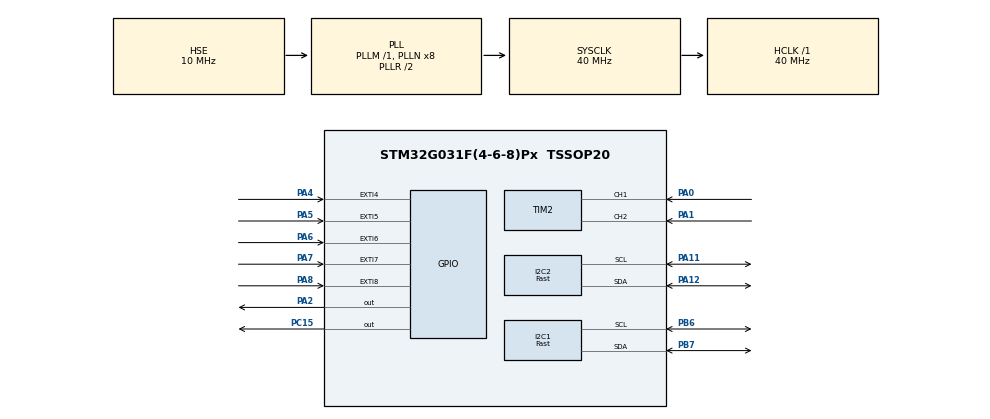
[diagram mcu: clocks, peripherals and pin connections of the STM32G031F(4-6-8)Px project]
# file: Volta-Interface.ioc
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I2C1.I2C_Speed_Mode=I2C_Fast
I2C1.Timing=0x00301347
I2C2.I2C_Speed_Mode=I2C_Fast
I2C2.Timing=0x00301347
Mcu.Family=STM32G0
Mcu.Name=STM32G031F(4-6-8)Px
Mcu.Package=TSSOP20
NVIC.EXTI4_15_IRQn=true\:0\:0\:false\:false\:true\:true\:true\:true
NVIC.TIM16_IRQn=true\:0\:0\:false\:false\:true\:true\:true\:true
NVIC.TIM2_IRQn=true\:0\:0\:false\:false\:true\:true\:true\:true
PA0.Signal=S_TIM2_CH1_ETR
PA1.Signal=S_TIM2_CH2
PA11\ [PA9].Mode=I2C
PA11\ [PA9].Signal=I2C2_SCL
PA12\ [PA10].Mode=I2C
PA12\ [PA10].Signal=I2C2_SDA
PA13.Mode=Serial_Wire
PA13.Signal=SYS_SWDIO
PA14-BOOT0.Mode=Serial_Wire
PA14-BOOT0.Signal=SYS_SWCLK
PA14-BOOT0__PA15.StandardMode=true
PA2.Signal=GPIO_Output
PA4.GPIO_ModeDefaultEXTI=GPIO_MODE_IT_FALLING
PA4.GPIO_PuPd=GPIO_PULLUP
PA4.Signal=GPXTI4
PA5.GPIO_ModeDefaultEXTI=GPIO_MODE_IT_FALLING
PA5.GPIO_PuPd=GPIO_PULLUP
PA5.Signal=GPXTI5
PA6.GPIO_ModeDefaultEXTI=GPIO_MODE_IT_FALLING
PA6.GPIO_PuPd=GPIO_PULLUP
PA6.Signal=GPXTI6
PA7.GPIO_ModeDefaultEXTI=GPIO_MODE_IT_FALLING
PA7.GPIO_PuPd=GPIO_PULLUP
PA7.Signal=GPXTI7
PA8.GPIO_ModeDefaultEXTI=GPIO_MODE_IT_FALLING
PA8.GPIO_PuPd=GPIO_PULLUP
PA8.Signal=GPXTI8
PB0__PB1__PB2__PA8.StandardMode=true
PB3__PB4__PB5__PB6.StandardMode=true
PB6.Mode=I2C
PB6.Signal=I2C1_SCL
PB7.Mode=I2C
PB7.Signal=I2C1_SDA
PB7__PB8.StandardMode=true
PC14-OSC32_IN\ (PC14).Mode=HSE-External-Clock-Source
PC14-OSC32_IN\ (PC14).Signal=RCC_OSC_IN
PC14-OSC32_IN\ (PC14)__PB9.StandardMode=true
PC15-OSC32_OUT\ (PC15).GPIO_ModeDefaultOutputPP=GPIO_MODE_OUTPUT_OD
PC15-OSC32_OUT\ (PC15).GPIO_PuPd=GPIO_NOPULL
PC15-OSC32_OUT\ (PC15).PinState=GPIO_PIN_SET
PC15-OSC32_OUT\ (PC15).Signal=GPIO_Output
ProjectManager.HeapSize=0x200
ProjectManager.StackSize=0x400
ProjectManager.TargetToolchain=STM32CubeIDE
RCC.ADCFreq_Value=40000000
RCC.AHBFreq_Value=40000000
RCC.CortexFreq_Value=40000000
RCC.EXTERNAL_CLOCK_VALUE=12288000
RCC.HCLKFreq_Value=40000000
RCC.HSE_VALUE=10000000
RCC.HSI_VALUE=16000000
RCC.LSE_VALUE=32768
RCC.PLLSourceVirtual=RCC_PLLSOURCE_HSE
RCC.SYSCLKFreq_VALUE=40000000
RCC.SYSCLKSource=RCC_SYSCLKSOURCE_PLLCLK
RCC.VCOOutputFreq_Value=80000000
SH.S_TIM2_CH1_ETR.0=TIM2_CH1,Encoder_Interface
SH.S_TIM2_CH2.0=TIM2_CH2,Encoder_Interface
TIM16.Period=1000
TIM16.Prescaler=40000-1
TIM2.EncoderMode=TIM_ENCODERMODE_TI12
TIM2.IC1Polarity=TIM_ICPOLARITY_FALLING
TIM2.IC2Polarity=TIM_ICPOLARITY_FALLING
VP_TIM16_VS_ClockSourceINT.Mode=Enable_Timer
board=custom

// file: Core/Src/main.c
/* USER CODE BEGIN Header */
/**
  ******************************************************************************
  * @file           : main.c
  * @brief          : Main program body
  ******************************************************************************
  * @attention
  *
  * Copyright (c) 2022 STMicroelectronics.
  * All rights reserved.
  *
  * This software is licensed under terms that can be found in the LICENSE file
  * in the root directory of this software component.
  * If no LICENSE file comes with this software, it is provided AS-IS.
  *
  ******************************************************************************
  */
/* USER CODE END Header */
#include "main.h"

/* USER CODE BEGIN Includes */
#include "stdio.h"
#include "ctype.h"
#include "ssd1306.h"
/* USER CODE END Includes */

/* USER CODE BEGIN PD */

#define 	LED_DVR_IC1  			 (0x69 << 1) // IS31FL3193 PWM LED Driver I2C Address - U1
#define 	LED_DVR_IC2  			 (0x6A << 1) // IS31FL3193 PWM LED Driver I2C Address - U2

//General Registers
#define     SC16IS750_REG_RHR        (0x00)
#define     SC16IS750_REG_THR        (0x00)
#define     SC16IS750_REG_IER        (0x01)
#define     SC16IS750_REG_FCR        (0x02)
#define     SC16IS750_REG_IIR        (0x02)
#define     SC16IS750_REG_LCR        (0x03)
#define     SC16IS750_REG_MCR        (0x04)
#define     SC16IS750_REG_LSR        (0x05)
#define     SC16IS750_REG_MSR        (0x06)
#define     SC16IS750_REG_SPR        (0x07)
#define     SC16IS750_REG_TCR        (0x06)
#define     SC16IS750_REG_TLR        (0x07)
#define     SC16IS750_REG_TXLVL      (0x08)
#define     SC16IS750_REG_RXLVL      (0x09)
#define     SC16IS750_REG_IODIR      (0x0A)
#define     SC16IS750_REG_IOSTATE    (0x0B)
#define     SC16IS750_REG_IOINTENA   (0x0C)
#define     SC16IS750_REG_IOCONTROL  (0x0E)
#define     SC16IS750_REG_EFCR       (0x0F)

//Special Registers
#define     SC16IS750_REG_DLL        (0x00)
#define     SC16IS750_REG_DLH        (0x01)

//Enhanced Registers
#define     SC16IS750_REG_EFR        (0x02)
#define     SC16IS750_REG_XON1       (0x04)
#define     SC16IS750_REG_XON2       (0x05)
#define     SC16IS750_REG_XOFF1      (0x06)
#define     SC16IS750_REG_XOFF2      (0x07)

//
#define     SC16IS750_INT_CTS        (0x80)
#define     SC16IS750_INT_RTS        (0x40)
#define     SC16IS750_INT_XOFF       (0x20)
#define     SC16IS750_INT_SLEEP      (0x10)
#define     SC16IS750_INT_MODEM      (0x08)
#define     SC16IS750_INT_LINE       (0x04)
#define     SC16IS750_INT_THR        (0x02)
#define     SC16IS750_INT_RHR        (0x01)

#define     SC16IS750_ADDR           (0x90) // SC16IS750 UART Bridge/GPIO I2C Address
//#define     SC16IS750_OSC_FREQ       (10000000)
#define     SC16IS750_OSC_FREQ       (14745600)

// MCP47CMB22 configuration registers
#define DAC_CH0  					 (0x00 << 3) // DAC wiper 0 set register
#define DAC_CH1  					 (0x01 << 3) // DAC wiper 1 set register
#define DAC_REF 					 (0x08 << 3) // DAC Vref set register
#define DAC_POR 					 (0x09 << 3) // DAC Power Down register
#define DAC_SET					     (0x0A << 3) // DAC gain and status register

// MCP47CMB22 MTP memory regions (stores default values after POR)
#define MTP_DAC_CH0  				 (0x10 << 3) // MTP DAC wiper 0 set register
#define MTP_DAC_CH1					 (0x11 << 3) // MTP DAC wiper 1 set register
#define MTP_DAC_REF 				 (0x18 << 3) // MTP DAC Vref set register
#define MTP_DAC_POR					 (0x19 << 3) // MTP DAC Power Down register
#define MTP_DAC_SET					 (0x1A << 3) // MTP DAC gain and status register

#define ADC_ADDR  					 (0x68 << 1) // MCP3426 A/D converter address
#define DAC_ADDR  					 (0x60 << 1) // MCP47CVB21 12-bit D/A I2C Address
#define POT_ADDR  					 (0x2C << 1) // AD5245 10k digital pot I2C Address

/* USER CODE END PD */

I2C_HandleTypeDef hi2c1;
I2C_HandleTypeDef hi2c2;

TIM_HandleTypeDef htim2;
TIM_HandleTypeDef htim16;

/* USER CODE BEGIN PV */

// serial comms buffers
uint8_t tx_buf[64];
uint8_t rx_buf[64];

// sense offset
uint8_t vsense_offset = 0;
uint8_t isense_offset = 0;

// LED driver outputs states
uint8_t ledstate1,ledstate2;

// output switch state
int output_enabled;

// encoder
uint32_t counter;
uint8_t direction;
uint32_t position;
uint32_t position_prev;

// display values
uint16_t DisplayVoltage; // output voltage
uint16_t DisplayCurrent; // output current
uint16_t DisplayVoLimit; // compliance voltage
uint16_t DisplayIoLimit; // current limit
uint16_t DisplayOutput;
uint16_t DisplaySelection;

volatile int ButtonISR_A = 0;
volatile int ButtonISR_B = 0;
volatile int ButtonISR_C = 0;
volatile int ButtonISR_D = 0;
volatile int ButtonISR_E = 0;
volatile int FineAdjust = 0;
volatile int MenuState = 0;

volatile int SerialISR = 0;

/* USER CODE END PV */

void SystemClock_Config(void);
static void MX_GPIO_Init(void);
static void MX_I2C1_Init(void);
static void MX_TIM2_Init(void);
static void MX_I2C2_Init(void);
static void MX_TIM16_Init(void);

/* USER CODE BEGIN 0 */

// -----------------------------------  Begin User Interface interrupt service routines  --------------------------------

void HAL_TIM_IC_CaptureCallback(TIM_HandleTypeDef *htim){
	position_prev = position;
	counter = __HAL_TIM_GET_COUNTER(htim);
	position = counter/4;

	if(position_prev > position){
		direction = 1;
	}
	if(position_prev < position){
		direction = 2;
	}

	return;
}

void ButtonPressed_A(){
	ButtonISR_A = 1; // enable switch
}

void ButtonPressed_B(){
	ButtonISR_B = 1; // current mode
}

void ButtonPressed_C(){
	ButtonISR_C = 1; // voltage mode
}

void ButtonPressed_D(){
	ButtonISR_D = 1; // trim adjust
}

void ButtonPressed_E(){
	ButtonISR_E = 1; // encoder switch
}

void Serial_Interrupt(){
	SerialISR = 1;
}

void HAL_TIM_PeriodElapsedCallback(TIM_HandleTypeDef *htim){

	if(htim == &htim16){
		Serial_Interrupt();
	}
}

// -----------------------------------  End User Interface interrupt service routines  --------------------------------

// -----------------------------------  Begin SSD1306 OLED Display functions  --------------------------------

void VoltaDisplaySplash(){

	// display splash screen on power up

	ssd1306_SetCursor(22, 4);
	ssd1306_WriteString("Volta", Font_16x26, White);
	ssd1306_SetCursor(8, 30);
	ssd1306_WriteString("Lab Bench Supply", Font_7x10, White);
	ssd1306_SetCursor(8, 42);
	ssd1306_WriteString("Designed in 2022", Font_7x10, White);
	ssd1306_SetCursor(8, 54);
	ssd1306_WriteString("FW Rev: 0.9.3", Font_7x10, White);
	ssd1306_UpdateScreen();

	return;
}

void VoltaDisplayInit(){

	// set up the 128x64 OLED to display the framework for the user interface

	ssd1306_Fill(Black);

	ssd1306_SetCursor(2, 5);
	ssd1306_WriteString("Voltage:", Font_7x10, White);
	ssd1306_SetCursor(60, 1);
	ssd1306_WriteString("00.00", Font_11x18, White);
	ssd1306_SetCursor(114, 1);
	ssd1306_WriteString("V", Font_11x18, White);

	ssd1306_SetCursor(2, 20);
	ssd1306_WriteString("Current:", Font_7x10, White);
	ssd1306_SetCursor(60, 16);
	ssd1306_WriteString("0.000", Font_11x18, White);
	ssd1306_SetCursor(114, 16);
	ssd1306_WriteString("A", Font_11x18, White);

	ssd1306_SetCursor(10, 40);
	ssd1306_WriteString("VLIM:", Font_7x10, White);
	ssd1306_SetCursor(46, 40);
	ssd1306_WriteString("00.00", Font_7x10, White);
	ssd1306_SetCursor(82, 40);
	ssd1306_WriteString("V", Font_7x10, White);

	ssd1306_SetCursor(10, 52);
	ssd1306_WriteString("ILIM:", Font_7x10, White);
	ssd1306_SetCursor(46, 52);
	ssd1306_WriteString("0.000", Font_7x10, White);
	ssd1306_SetCursor(82, 52);
	ssd1306_WriteString("A", Font_7x10, White);

	ssd1306_SetCursor(95, 40);
	ssd1306_WriteString("COAR", Font_7x10, White);

	ssd1306_SetCursor(99, 52);
	ssd1306_WriteString("ADJ", Font_7x10, White);

	ssd1306_DrawRectangle(0, 0, 126, 36, White); // top box
	ssd1306_DrawRectangle(0, 36, 92, 62, White); // left box
	ssd1306_DrawRectangle(92, 36, 126, 62, White); // right box
	ssd1306_UpdateScreen();

	return;
}

void VoltaDisplayValues(uint16_t Voltage, uint16_t Current, uint16_t VoLimit, uint16_t IoLimit, uint8_t FineAdjustState, uint8_t SetSelect){
	uint8_t V1, V2, V3, V4;
	uint8_t I1, I2, I3, I4;
	uint8_t VL1, VL2, VL3, VL4;
	uint8_t IL1, IL2, IL3, IL4;
	char Vdisp[6];
	char Idisp[6];
	char VLdisp[6];
	char ILdisp[6];

	// extract digits from int
	V1 = Voltage / 1000 % 10;
	V2 = Voltage / 100  % 10;
	V3 = Voltage / 10   % 10;
	V4 = Voltage        % 10;

	I1 = Current / 1000 % 10;
	I2 = Current / 100  % 10;
	I3 = Current / 10   % 10;
	I4 = Current        % 10;

	VL1 = VoLimit / 1000 % 10;
	VL2 = VoLimit / 100  % 10;
	VL3 = VoLimit / 10   % 10;
	VL4 = VoLimit        % 10;

	IL1 = IoLimit / 1000 % 10;
	IL2 = IoLimit / 100  % 10;
	IL3 = IoLimit / 10   % 10;
	IL4 = IoLimit        % 10;

	// display voltage setting/sense
    sprintf(Vdisp, "%d%d.%d%d", V1,V2,V3,V4);
	ssd1306_SetCursor(60, 1);
	ssd1306_WriteString(Vdisp, Font_11x18, White);

	// display current setting/sense
    sprintf(Idisp, "%d.%d%d%d", I1,I2,I3,I4);
	ssd1306_SetCursor(60, 16);
	ssd1306_WriteString(Idisp, Font_11x18, White);

	// display voltage limit
    sprintf(VLdisp, "%d%d.%d%d", VL1,VL2,VL3,VL4);
	ssd1306_SetCursor(46, 40);
	ssd1306_WriteString(VLdisp, Font_7x10, White);

	// display current limit
    sprintf(ILdisp, "%d.%d%d%d", IL1,IL2,IL3,IL4);
	ssd1306_SetCursor(46, 52);
	ssd1306_WriteString(ILdisp, Font_7x10, White);

	// display state of adjustment resolution
	if (FineAdjustState == 0){
		ssd1306_SetCursor(95, 40);
		ssd1306_WriteString("COAR", Font_7x10, White);
	}
	else if (FineAdjustState == 1){
		ssd1306_SetCursor(95, 40);
		ssd1306_WriteString("FINE", Font_7x10, White);
	}
	else if (FineAdjustState == 2){
		ssd1306_SetCursor(95, 40);
		ssd1306_WriteString("TRIM", Font_7x10, White);
	}
	else;

	// display arrow for user choice
	if (SetSelect == 0){
		ssd1306_SetCursor(2, 40);
		ssd1306_WriteString(" ", Font_7x10, White);
		ssd1306_SetCursor(2, 52);
		ssd1306_WriteString(" ", Font_7x10, White);
	}
	else if (SetSelect == 1){
		ssd1306_SetCursor(2, 40);
		ssd1306_WriteString(">", Font_7x10, White);
		ssd1306_SetCursor(2, 52);
		ssd1306_WriteString(" ", Font_7x10, White);
	}
	else if (SetSelect == 2){
		ssd1306_SetCursor(2, 40);
		ssd1306_WriteString(" ", Font_7x10, White);
		ssd1306_SetCursor(2, 52);
		ssd1306_WriteString(">", Font_7x10, White);
	}
	else;

	ssd1306_UpdateScreen();

	return;
}

void AdjustVoltage(){
	uint8_t StepSize;
	ButtonISR_C = 0;
	DisplaySelection = 1;
	direction = 0;

	while(ButtonISR_E != 1){

		if(ButtonISR_B == 1){
			break;
		}

		if(ButtonISR_C == 1){
			break;
		}

		if(ButtonISR_D == 1){
			FineAdjust++;

			if (FineAdjust > 2){
				FineAdjust = 0;
			}
			ButtonISR_D = 0;
		}

		if(FineAdjust == 0){
			StepSize = 100;
		}
		else if(FineAdjust == 1){
			StepSize = 5;
		}
		else if(FineAdjust == 2){
			StepSize = 1;
		}
		else;

		if(direction == 1){

			if(DisplayVoLimit > 0){
				DisplayVoLimit -= StepSize;
				direction = 0;
			}
			else {
				direction = 0;
			}

		}
		if(direction == 2){

			if(DisplayVoLimit < 1200){
				DisplayVoLimit += StepSize;
				direction = 0;
			}
			else {
				direction = 0;
			}

		}

		VoltaDisplayValues(DisplayVoltage, DisplayCurrent, DisplayVoLimit, DisplayIoLimit, FineAdjust, DisplaySelection);

		//uint16_t DisplayVoltage; // output voltage
		//uint16_t DisplayCurrent; // output current
		//uint16_t DisplayVoLimit; // compliance voltage
		//uint16_t DisplayIoLimit; // current limit

	}

	DisplaySelection = 0;

	return;
}

void AdjustCurrent(){
	uint8_t StepSize;
	ButtonISR_B = 0;
	DisplaySelection = 2;
	direction = 0;

	while(ButtonISR_E != 1){

		if(ButtonISR_B == 1){
			break;
		}

		if(ButtonISR_C == 1){
			break;
		}

		if(ButtonISR_D == 1){
			FineAdjust++;

			if (FineAdjust > 2){
				FineAdjust = 0;
			}
			ButtonISR_D = 0;
		}

		if(FineAdjust == 0){
			StepSize = 20;
		}
		else if(FineAdjust == 1){
			StepSize = 5;
		}
		else if(FineAdjust == 2){
			StepSize = 1;
		}
		else;

		if(direction == 1){

			if(DisplayIoLimit > 0){
				DisplayIoLimit -= StepSize;
				direction = 0;
			}
			else {
				direction = 0;
			}

		}
		if(direction == 2){

			if(DisplayIoLimit < 1000){
				DisplayIoLimit += StepSize;
				direction = 0;
			}
			else {
				direction = 0;
			}

		}

		VoltaDisplayValues(DisplayVoltage, DisplayCurrent, DisplayVoLimit, DisplayIoLimit, FineAdjust, DisplaySelection);

		//uint16_t DisplayVoltage; // output voltage
		//uint16_t DisplayCurrent; // output current
		//uint16_t DisplayVoLimit; // compliance voltage
		//uint16_t DisplayIoLimit; // current limit

	}

	DisplaySelection = 0;

	return;
}

// -----------------------------------  End SSD1306 OLED Display functions  --------------------------------

// -----------------------------------  Begin SC16IS750 UART Bridge/GPIO functions  --------------------------------

uint8_t SC16IS750_ReadRegister(uint8_t reg_addr){
	uint8_t i2c_buf[8];
	uint8_t value;

	HAL_I2C_Mem_Read(&hi2c2, SC16IS750_ADDR, reg_addr << 3, I2C_MEMADD_SIZE_8BIT, i2c_buf, 1, 10);

	value = i2c_buf[0];

	return value;
}

void SC16IS750_WriteRegister(uint8_t reg_addr, uint8_t value){
	uint8_t i2c_buf[8];
	i2c_buf[0] = value;

	HAL_I2C_Mem_Write(&hi2c2, SC16IS750_ADDR, reg_addr << 3, I2C_MEMADD_SIZE_8BIT, i2c_buf, 1, 10);

	return;
}

void SC16IS750_GPIOPinMode(uint8_t pin_number, uint8_t i_o){
	uint8_t temp_iodir;

	temp_iodir = SC16IS750_ReadRegister(SC16IS750_REG_IODIR);
	if ( i_o == 1 ){	// if output
		temp_iodir |= (0x01 << pin_number);
	}
	else {
		temp_iodir &= (uint8_t)~(0x01 << pin_number);
	}

	SC16IS750_WriteRegister(SC16IS750_REG_IODIR, temp_iodir);

    return;
}

void SC16IS750_GPIOSetPinState(uint8_t pin_number, uint8_t pin_state){
	uint8_t temp_iostate;

	temp_iostate = SC16IS750_ReadRegister(SC16IS750_REG_IOSTATE);
	if ( pin_state == 1 ) {
		temp_iostate |= (0x01 << pin_number);
    }
	else {
		temp_iostate &= (uint8_t)~(0x01 << pin_number);
    }

	SC16IS750_WriteRegister(SC16IS750_REG_IOSTATE, temp_iostate);

    return;
}

uint8_t SC16IS750_GPIOGetPinState(uint8_t pin_number){
    uint8_t temp_iostate;

    temp_iostate = SC16IS750_ReadRegister(SC16IS750_REG_IOSTATE);
    if ( (temp_iostate & (0x01 << pin_number)) == 0 ) {

    	return 0;
    }

    return 1;
}

void SC16IS750_SetBaudrate(uint32_t baudrate){
    uint16_t divisor;
    uint8_t prescaler;
    uint8_t temp_lcr;
    if ( (SC16IS750_ReadRegister(SC16IS750_REG_MCR)&0x80) == 0) { //if prescaler==1
        prescaler = 1;
    } else {
        prescaler = 4;
    }

    divisor = (SC16IS750_OSC_FREQ/prescaler)/(baudrate*16);

    temp_lcr = SC16IS750_ReadRegister(SC16IS750_REG_LCR);
    temp_lcr |= 0x80;
    SC16IS750_WriteRegister(SC16IS750_REG_LCR,temp_lcr);

    //write to DLL
    SC16IS750_WriteRegister(SC16IS750_REG_DLL,(uint8_t)divisor);

    //write to DLH
    SC16IS750_WriteRegister(SC16IS750_REG_DLH,(uint8_t)(divisor>>8));

    temp_lcr &= 0x7F;
    SC16IS750_WriteRegister(SC16IS750_REG_LCR,temp_lcr);

    return;
}

void SC16IS750_FlushFIFO(uint8_t rx_tx){
   uint8_t temp_fcr;

   temp_fcr = SC16IS750_ReadRegister(SC16IS750_REG_FCR);

   if (rx_tx == 0){
       temp_fcr |= 0x04; // reset Tx FIFO
   } else {
       temp_fcr |= 0x02; // reset Rx FIFO
   }
   SC16IS750_WriteRegister(SC16IS750_REG_FCR,temp_fcr);

   return;
}

void CheckDuplicates(void){
    int duplicate_char;

    for (int i=1; i<64; i++){
        if (rx_buf[0] != rx_buf[i]){
            duplicate_char = 0;
        }
        else duplicate_char = 1;
    }

    if(duplicate_char==1){
    	rx_buf[0] = 0x00;
    }

    return;
}

void FlushTxBuffer(void){

	for(int i=0; i<64; i++){
		tx_buf[i] = 0x20;
	}

    return;
}

void FlushRxBuffer(void){

	for(int i=0; i<64; i++){
		rx_buf[i] = 0x20;
	}

    return;
}

void SerialPrint(uint8_t* str){

    for (uint8_t *p = str; *p != '\0'; p++) {

		if(*p == 0x0D){ // 0x2F = / ; 0x0D = CR (enter)
			//rx_buf[i] = 0x0D;
			break;
		}

    	SC16IS750_WriteRegister(SC16IS750_REG_THR, *p);
    }
    SC16IS750_WriteRegister(SC16IS750_REG_THR, 0x0A); // new line
    SC16IS750_WriteRegister(SC16IS750_REG_THR, 0x0D); // carriage return

    FlushRxBuffer();

    return;
}

void SerialRead(){
	uint8_t rx_char;

	for(int i=0; i<64; i++){
		rx_char = SC16IS750_ReadRegister(SC16IS750_REG_RHR);

		if(rx_char == 0x0D){ // 0x2F = / ; 0x0D = CR (enter)
			rx_buf[i] = 0x0D;
			break;
		}

		rx_buf[i] = rx_char;
	}

	CheckDuplicates();

	return;
}

void SC16IS750_Init(){

	SC16IS750_WriteRegister(SC16IS750_REG_IOCONTROL,0x08); // software reset
	SC16IS750_WriteRegister(SC16IS750_REG_FCR,0x01); // enable fifo
	SC16IS750_WriteRegister(SC16IS750_REG_LCR,0x03); // no parity, 8 bits, 1 stop bit

	//SC16IS750_WriteRegister(SC16IS750_REG_IER,0x01); // RHR Interrupt enable

	SC16IS750_SetBaudrate(115200);

	SC16IS750_GPIOPinMode(0,1); // set power on enable pin to output mode
	SC16IS750_GPIOSetPinState(0,0); // initialize power on enable low

	SC16IS750_GPIOPinMode(1,0); // set current limit sense pin to input mode

	SC16IS750_GPIOPinMode(2,1); // set output enable pin to output mode
	SC16IS750_GPIOSetPinState(2,0); // initialize output enable low

	return;
}

// -----------------------------------  End SC16IS750 UART Bridge/GPIO functions  --------------------------------

// -----------------------------------  Begin MCP47CMB22 D/A converter functions  --------------------------------

void MCP47CMB22_Init(){
	uint8_t i2c_buf[2];

    i2c_buf[0] = 0x00;
    i2c_buf[1] = 0x00;

	HAL_I2C_Mem_Write(&hi2c2, DAC_ADDR, DAC_CH0, I2C_MEMADD_SIZE_8BIT, i2c_buf, 2, 10); // send output decode to DAC

    i2c_buf[0] = 0x00;
    i2c_buf[1] = 0x00;

	HAL_I2C_Mem_Write(&hi2c2, DAC_ADDR, DAC_CH1, I2C_MEMADD_SIZE_8BIT, i2c_buf, 2, 10); // send output decode to DAC

	return;
}

void MCP47CMB22_MTP_Program(uint8_t address, uint8_t byte_1, uint8_t byte_2){
	uint8_t i2c_buf[2];

	i2c_buf[0] = byte_1;
	i2c_buf[1] = byte_2;

	HAL_Delay(10);

	HAL_I2C_Mem_Write(&hi2c2, DAC_ADDR, address, I2C_MEMADD_SIZE_8BIT, i2c_buf, 2, 10); // send command to DAC

	return;
}

void MCP47CMB22_Voltage_Set(uint16_t set_point){
	uint8_t i2c_buf[2];
	uint16_t output_code;
    int ref = 2048;
    int gain1 = 1;
    int gain2 = 6;

    output_code = ((set_point*10*4096) + (ref*gain1*gain2) - 1 ) / (ref*gain1*gain2); // 1 LSB = 3mV

    i2c_buf[0] = (output_code >> 8) & 0xFF;
    i2c_buf[1] = output_code & 0xFF;

	HAL_I2C_Mem_Write(&hi2c2, DAC_ADDR, DAC_CH0, I2C_MEMADD_SIZE_8BIT, i2c_buf, 2, 10); // send output decode to DAC

	return;
}

void MCP47CMB22_Current_Set(uint16_t set_point){
	uint8_t i2c_buf[2];
	uint16_t output_code;

    output_code = (set_point*4); // 4 LSB = 1mA

    i2c_buf[0] = (output_code >> 8) & 0xFF;
    i2c_buf[1] = output_code & 0xFF;

	HAL_I2C_Mem_Write(&hi2c2, DAC_ADDR, DAC_CH1, I2C_MEMADD_SIZE_8BIT, i2c_buf, 2, 10); // send output decode to DAC

	return;
}

// -----------------------------------  End MCP47CMB22 D/A converter functions  --------------------------------

// -----------------------------------  Begin MCP3426 A/D converter functions  --------------------------------

void MCP3426_Init(){
	uint8_t i2c_buf[2];
	uint8_t config_byte = 0x00;

	config_byte = 0x08; // one shot conversion mode, channel 1, 16 bit resolution

    i2c_buf[0] = config_byte;

	HAL_I2C_Master_Transmit(&hi2c2, ADC_ADDR, i2c_buf, 1, 10);

	config_byte = 0x28; // one shot conversion mode, channel 1, 16 bit resolution

    i2c_buf[0] = config_byte;

	HAL_I2C_Master_Transmit(&hi2c2, ADC_ADDR, i2c_buf, 1, 10);

	return;
}

uint16_t MCP3426_Voltage_Sense(){
	uint8_t i2c_buf[3];
	uint16_t adc_value;
	uint16_t sense_code;

	i2c_buf[0] = 0x88; // trigger conversion, one shot conversion mode, channel 1, 16 bit resolution
	i2c_buf[2] = 0xFF; // initialize buffer to ensure loop starts

    HAL_I2C_Master_Transmit(&hi2c2, ADC_ADDR, i2c_buf, 1, 10); // ADC trigger

    while( (i2c_buf[2] &= ~(0x7F)) != 0x00 ){
    	HAL_I2C_Master_Receive(&hi2c2, ADC_ADDR, i2c_buf, 3, 10); // wait for output register ready bit to be cleared
    }

	adc_value = ((i2c_buf[0] << 8) | (i2c_buf[1])); // combine bytes after readout

	adc_value = 0x8000 ^ adc_value; // complement MSB

    sense_code = (((adc_value*4096)/65535)*1000 + 3333 - 1 )/3333; // scale to match UX range

    return sense_code;
}

uint16_t MCP3426_Current_Sense(){
	uint8_t i2c_buf[3];
	uint16_t adc_value;
	uint16_t sense_code;

	i2c_buf[0] = 0xA8; // trigger conversion, one shot conversion mode, channel 2, 16 bit resolution
	i2c_buf[2] = 0xFF; // initialize buffer to ensure loop starts

    HAL_I2C_Master_Transmit(&hi2c2, ADC_ADDR, i2c_buf, 1, 10); // ADC trigger

    while( (i2c_buf[2] &= ~(0x7F)) != 0x00 ){
    	HAL_I2C_Master_Receive(&hi2c2, ADC_ADDR, i2c_buf, 3, 10); // wait for output register ready bit to be cleared
    }

	adc_value = ((i2c_buf[0] << 8) | (i2c_buf[1])); // combine bytes  after readout

	adc_value = 0x8000 ^ adc_value; // complement MSB

    sense_code = (((adc_value*4096)/65535))/2; // scale to match UX range

    return sense_code;
}

// -----------------------------------  End MCP3426 A/D converter functions  --------------------------------

// -----------------------------------  Begin AD5245 Digital Potentiometer functions  --------------------------------

void AD5245_Wiper_Command(uint8_t shutdown, uint8_t reset, uint8_t wiper_value){
	uint8_t i2c_buf[2];
	uint8_t instruction_byte = 0x00;

	if(shutdown == 1){
		instruction_byte |= (0x20);
	}

	if(shutdown == 1){
		instruction_byte |= (0x40);
	}

    i2c_buf[0] = instruction_byte;
    i2c_buf[1] = wiper_value;

	HAL_I2C_Master_Transmit(&hi2c2, POT_ADDR, i2c_buf, 2, 10);

	return;
}

// -----------------------------------  End AD5245 Digital Potentiometer functions  --------------------------------

// -----------------------------------  Begin IS31FL3193 PWM LED driver interface functions  --------------------------------

void LED_DVR_Init(void){
	uint8_t i2c_buf[12]  = {0x20, 0x00 , 0x00, 0x08 , 0x20 , 0x20 , 0x20 , 0x00}; // set initial values
	// shutdown disable ; enable outputs ; normal operation ; disable LED breathing ; PWM control ; Imax 5mA ; duty cycle 12.5% ; update PWM registers

	HAL_I2C_Mem_Write(&hi2c1, LED_DVR_IC1, 0x00, I2C_MEMADD_SIZE_8BIT, i2c_buf, 8, 10); // send initialization buffer
	HAL_I2C_Mem_Write(&hi2c1, LED_DVR_IC2, 0x00, I2C_MEMADD_SIZE_8BIT, i2c_buf, 8, 10);

	i2c_buf[0] = 0x07;

	HAL_I2C_Mem_Write(&hi2c1, LED_DVR_IC1, 0x1D, I2C_MEMADD_SIZE_8BIT, i2c_buf, 1, 10); // enable all outputs
	HAL_I2C_Mem_Write(&hi2c1, LED_DVR_IC2, 0x1D, I2C_MEMADD_SIZE_8BIT, i2c_buf, 1, 10);

	i2c_buf[0] = 0x00;
	HAL_Delay(500);

	HAL_I2C_Mem_Write(&hi2c1, LED_DVR_IC1, 0x1D, I2C_MEMADD_SIZE_8BIT, i2c_buf, 1, 10); // disable all outputs
	HAL_I2C_Mem_Write(&hi2c1, LED_DVR_IC2, 0x1D, I2C_MEMADD_SIZE_8BIT, i2c_buf, 1, 10);

	return;
}

void LED_DVR_CTRL(uint8_t driver_number, uint8_t led_number, uint8_t led_state){
	uint8_t i2c_buf[4];
	uint8_t i2c_address;
	uint8_t temp_ledstate;

	if (driver_number == 0) {
		i2c_address = LED_DVR_IC1;
		temp_ledstate = ledstate1;
	}
	if(driver_number == 1){
		i2c_address = LED_DVR_IC2;
		temp_ledstate = ledstate2;
	}

	if ( led_state == 1 ) {
		temp_ledstate |= (0x01 << led_number);
	}
	else {
		temp_ledstate &= (uint8_t)~(0x01 << led_number);
	}

	if (driver_number == 0) {
		ledstate1 = temp_ledstate;
	}
	if(driver_number == 1){
		ledstate2 = temp_ledstate;
	}

	i2c_buf[0] = temp_ledstate;

	HAL_I2C_Mem_Write(&hi2c1, i2c_address, 0x1D, I2C_MEMADD_SIZE_8BIT, i2c_buf, 1, 10);

	return;
}

// -----------------------------------  End IS31FL3193 PWM LED driver interface functions  --------------------------------

// -----------------------------------  Begin Regulator Loop functions  --------------------------------

void ConstantVoltage(uint16_t voltage_set_point){

	// set preregulator output voltage
	if(voltage_set_point < 300){
		AD5245_Wiper_Command(0,0,255); // set VREG to 2.8V
	}
	else if(voltage_set_point <= 400){
		AD5245_Wiper_Command(0,0,50); // set VREG to 5.0V
	}
	else if(voltage_set_point <= 500){
		AD5245_Wiper_Command(0,0,32); // set VREG to 6.0V
	}
	else if(voltage_set_point <= 600){
		AD5245_Wiper_Command(0,0,21); // set VREG to 7.0V
	}
	else if(voltage_set_point <= 700){
		AD5245_Wiper_Command(0,0,14); // set VREG to 8.0V
	}
	else if(voltage_set_point <= 800){
		AD5245_Wiper_Command(0,0,9); // set VREG to 9.0V
	}
	else if(voltage_set_point <= 900){
		AD5245_Wiper_Command(0,0,6); // set VREG to 10.0V
	}
	else if(voltage_set_point <= 1000){
		AD5245_Wiper_Command(0,0,3); // set VREG to 11.0V
	}
	else if(voltage_set_point <= 1100){
		AD5245_Wiper_Command(0,0,1); // set VREG to 11.8V
	}
	else if(voltage_set_point <= 1200){
		AD5245_Wiper_Command(0,0,0); // set VREG to 12.8V
	}

	//HAL_Delay(10);

	MCP47CMB22_Voltage_Set(DisplayVoLimit);

	return;
}

void CC_CV_Detection(){

	int temp_cc_cv;

	if(DisplayVoltage > DisplayVoLimit){
		temp_cc_cv = 0;
	}
	else temp_cc_cv = 1;

	//DisplayVoltage > DisplayCurrent

	if( temp_cc_cv ){
		 LED_DVR_CTRL(0,1,1); // enable constant current LED
		 LED_DVR_CTRL(0,2,0); // disable constant voltage LED
	}
	else {
		 LED_DVR_CTRL(0,1,0); // disable constant current LED
		 LED_DVR_CTRL(0,2,1); // enable constant voltage LED
	}

}

void Current_Limit(){

	if( SC16IS750_GPIOGetPinState(1) ){
		 LED_DVR_CTRL(1,1,1); // enable limit/clamp LED
	}
	else LED_DVR_CTRL(1,1,0); // disable limit/clamp LED

}

void Toggle_Output_Switch(){

	if(output_enabled){
		output_enabled = 0;
		LED_DVR_CTRL(1,2,0); // disable output LED
		SC16IS750_GPIOSetPinState(2,0); // disable output switch
	}
	else{
		output_enabled = 1;
		LED_DVR_CTRL(1,2,1); // enable output LED
	    SC16IS750_GPIOSetPinState(2,1); // enable output switch
	}

}

// -----------------------------------  End Regulator Loop functions  --------------------------------

// ----------------------------------- Begin Serial Comms functions  --------------------------------

void Serial_Voltage_Handler(uint8_t nread_write, uint8_t VL1, uint8_t VL2, uint8_t VL3, uint8_t VL4){

	uint8_t V1, V2, V3, V4;

    if(nread_write == 1){

        DisplayVoLimit = (VL1 * 1000) + (VL2 * 100) + (VL3 * 10) + (VL4 * 1);

        if(DisplayVoLimit > 1200){
        	DisplayVoLimit = 1200;
        }

        V1 = DisplayVoLimit / 1000 % 10;
        V2 = DisplayVoLimit / 100  % 10;
        V3 = DisplayVoLimit / 10   % 10;
        V4 = DisplayVoLimit        % 10;

        sprintf(tx_buf, "VLIM: %d%d.%d%d V",V1,V2,V3,V4);
		SerialPrint(tx_buf);

    }
    else{

    	// extract digits from int
    	V1 = DisplayVoltage / 1000 % 10;
    	V2 = DisplayVoltage / 100  % 10;
    	V3 = DisplayVoltage / 10   % 10;
    	V4 = DisplayVoltage        % 10;

    	sprintf(tx_buf, "Vo: %d%d.%d%d V",V1,V2,V3,V4);
    	SerialPrint(tx_buf);

    }

}

void Serial_Current_Handler(uint8_t nread_write, uint8_t IL1, uint8_t IL2, uint8_t IL3, uint8_t IL4){

	uint8_t I1, I2, I3, I4;

    if(nread_write == 1){

        DisplayIoLimit = (IL1 * 1000) + (IL2 * 100) + (IL3 * 10) + (IL4 * 1);

        if(DisplayIoLimit > 1000){
        	DisplayIoLimit = 1000;
        }

    	I1 = DisplayIoLimit / 1000 % 10;
    	I2 = DisplayIoLimit / 100  % 10;
    	I3 = DisplayIoLimit / 10   % 10;
    	I4 = DisplayIoLimit        % 10;

        sprintf(tx_buf, "ILIM: %d.%d%d%d A",I1,I2,I3,I4);
		SerialPrint(tx_buf);

    }
    else{

    	// extract digits from int
    	I1 = DisplayCurrent / 1000 % 10;
    	I2 = DisplayCurrent / 100  % 10;
    	I3 = DisplayCurrent / 10   % 10;
    	I4 = DisplayCurrent        % 10;

    	sprintf(tx_buf, "Io: %d.%d%d%d A",I1,I2,I3,I4);
    	SerialPrint(tx_buf);

    }

}

void Serial_Command_Handler(){

	uint8_t temp_lsr;
	uint8_t rx_echo[8];

	uint8_t nread_write;
	uint8_t command_char;
	uint8_t space_char;
	uint8_t argument_char[4];

	temp_lsr = SC16IS750_ReadRegister(SC16IS750_REG_LSR); // check line status register
	temp_lsr = temp_lsr & ~(0xFE); // clear all bits except for rx FIFO data ready bit

	if(temp_lsr == 0x01){
		SerialRead();

	}
	else return;

	if( isupper(rx_buf[0]) ){

		LED_DVR_CTRL(1,0,1); // enable serial LED

		command_char = rx_buf[0];
		space_char = rx_buf[1];

		for(int i=0 ; i<4 ; i++){
			argument_char[i] = rx_buf[i+2] - '0';
		}

		for(int i=0 ; i<6 ; i++){
			rx_echo[i] = rx_buf[i];
		}

		rx_echo[6] = 0x0D;

		FlushTxBuffer();
		SerialPrint(rx_echo);

	}
	else command_char = 'Z';

	switch(command_char){

		case 'D': // disable output switch

			output_enabled = 0;
			LED_DVR_CTRL(1,2,0); // disable output LED
			SC16IS750_GPIOSetPinState(2,0); // disable output switch

			sprintf(tx_buf, "ACK");
			SerialPrint(tx_buf);
			break;

		case 'E': // enable output switch

			output_enabled = 1;
			LED_DVR_CTRL(1,2,1); // enable output LED
			SC16IS750_GPIOSetPinState(2,1); // enable output switch

			sprintf(tx_buf, "ACK");
			SerialPrint(tx_buf);
			break;

		case 'I': // set current limit or read back the output current if char sent without arguments

			if(space_char == 0x20){
				 nread_write = 1;
			}
			else nread_write = 0;

			Serial_Current_Handler(nread_write,argument_char[0],argument_char[1],argument_char[2],argument_char[3]);

	  		MCP47CMB22_Current_Set(DisplayIoLimit);

			break;

		case 'N': // instruct the device to report itself on serial

			sprintf(tx_buf, "VLTA-001 ACK");
			SerialPrint(tx_buf);
			break;

		case 'R': // perform a full power on reset of system and peripherals

			sprintf(tx_buf, "RESET ACK");
			SerialPrint(tx_buf);
			NVIC_SystemReset();
			break;

		case 'V': // set voltage limit or read back the output voltage if char sent without arguments

			if(space_char == 0x20){
				 nread_write = 1;
			}
			else nread_write = 0;

			Serial_Voltage_Handler(nread_write,argument_char[0],argument_char[1],argument_char[2],argument_char[3]);

			MCP47CMB22_Voltage_Set(DisplayVoLimit);

			break;

		case 'Z': // address invalid commands as not acknowledge

			sprintf(tx_buf, "NAK");
			SerialPrint(tx_buf);
			break;

		default :

			break;

	}

}

// -----------------------------------  End Serial Comms functions  --------------------------------

/* USER CODE END 0 */

int main(void)
{

  /* MCU Configuration--------------------------------------------------------*/

  /* Reset of all peripherals, Initializes the Flash interface and the Systick. */
  HAL_Init();

  /* Configure the system clock */
  SystemClock_Config();

  /* Initialize all configured peripherals */
  MX_GPIO_Init();
  MX_I2C1_Init();
  MX_TIM2_Init();
  MX_I2C2_Init();
  MX_TIM16_Init();
  /* USER CODE BEGIN 2 */

  SC16IS750_Init();

  LED_DVR_Init();

  HAL_GPIO_WritePin(GPIOA, GPIO_PIN_2, GPIO_PIN_RESET);
  HAL_Delay(10);
  HAL_GPIO_WritePin(GPIOA, GPIO_PIN_2, GPIO_PIN_SET);

  ssd1306_Init();

  VoltaDisplaySplash();
  HAL_Delay(2000);

  VoltaDisplayInit();

  HAL_TIM_Encoder_Start_IT(&htim2, TIM_CHANNEL_ALL);
  HAL_TIM_Base_Start_IT(&htim16);

  FlushRxBuffer();

  AD5245_Wiper_Command(0,1,255); // reset digital pot
  SC16IS750_GPIOSetPinState(0,1); // enable preregulator

  //isense_offset = MCP3426_Current_Sense() + 2 - 2;

  sprintf(tx_buf, "VLTA-001 RDY");
  SerialPrint(tx_buf);

  /* USER CODE END 2 */

  /* Infinite loop */
  /* USER CODE BEGIN WHILE */
  while (1)
  {

	  DisplayVoltage = MCP3426_Voltage_Sense() - vsense_offset;
	  DisplayCurrent = MCP3426_Current_Sense() - isense_offset;
	  Current_Limit();
	  CC_CV_Detection();
	  Serial_Command_Handler();

	  if(SerialISR == 1){
		  HAL_Delay(50);
		  LED_DVR_CTRL(1,0,0); // disable serial LED
		  //HAL_GPIO_TogglePin(GPIOC, GPIO_PIN_15);
		  //Serial_Command_Handler();

		  SerialISR = 0;
	  }
	  //else LED_DVR_CTRL(1,0,0); // disable serial LED

	  	  if(ButtonISR_A == 1){ // output enable/disable

	  		Toggle_Output_Switch();
	  		//SerialRead();
	  		//SerialPrint(rx_buf);

			ButtonISR_A = 0;
	  	  }

	  	  if(ButtonISR_B == 1){ // current mode

	  		//void LED_DVR_CTRL(uint8_t driver_number, uint8_t led_number, uint8_t led_state){
	  		LED_DVR_CTRL(0,0,1); // enable set LED
	  		AdjustCurrent();
	  		LED_DVR_CTRL(0,0,0); // disable set LED
			ButtonISR_B = 0;

	  	  }

	  	  if(ButtonISR_C == 1){ // voltage mode

		  	LED_DVR_CTRL(0,0,1); // enable set LED
	  		AdjustVoltage();
	  		LED_DVR_CTRL(0,0,0); // disable set LED

			ButtonISR_C = 0;
	  	  }

	  	  if(ButtonISR_D == 1){ // trim resolution

			FineAdjust++;

			if (FineAdjust > 2){
				FineAdjust = 0;
			}

			ButtonISR_D = 0;
	  	  }

	  	  if(ButtonISR_E == 1){ // encoder switch

	  		ConstantVoltage(DisplayVoLimit);
	  		MCP47CMB22_Current_Set(DisplayIoLimit);
	  		//MCP47CMB22_Voltage_Set(DisplayVoLimit);
	  		//SerialPrint(tx_buf);
	  		//SerialPrint("string");
	  		//SerialRead();

			ButtonISR_E = 0;
	  	  }

	  	  VoltaDisplayValues(DisplayVoltage, DisplayCurrent, DisplayVoLimit, DisplayIoLimit, FineAdjust, DisplaySelection);

    /* USER CODE END WHILE */

  }
}

void SystemClock_Config(void)
{
  RCC_OscInitTypeDef RCC_OscInitStruct = {0};
  RCC_ClkInitTypeDef RCC_ClkInitStruct = {0};

  /** Configure the main internal regulator output voltage
  */
  HAL_PWREx_ControlVoltageScaling(PWR_REGULATOR_VOLTAGE_SCALE1);

  /** Initializes the RCC Oscillators according to the specified parameters
  * in the RCC_OscInitTypeDef structure.
  */
  RCC_OscInitStruct.OscillatorType = RCC_OSCILLATORTYPE_HSE;
  RCC_OscInitStruct.HSEState = RCC_HSE_BYPASS;
  RCC_OscInitStruct.PLL.PLLState = RCC_PLL_ON;
  RCC_OscInitStruct.PLL.PLLSource = RCC_PLLSOURCE_HSE;
  RCC_OscInitStruct.PLL.PLLM = RCC_PLLM_DIV1;
  RCC_OscInitStruct.PLL.PLLN = 8;
  RCC_OscInitStruct.PLL.PLLP = RCC_PLLP_DIV2;
  RCC_OscInitStruct.PLL.PLLQ = RCC_PLLQ_DIV2;
  RCC_OscInitStruct.PLL.PLLR = RCC_PLLR_DIV2;
  if (HAL_RCC_OscConfig(&RCC_OscInitStruct) != HAL_OK)
  {
    Error_Handler();
  }

  /** Initializes the CPU, AHB and APB buses clocks
  */
  RCC_ClkInitStruct.ClockType = RCC_CLOCKTYPE_HCLK|RCC_CLOCKTYPE_SYSCLK
                              |RCC_CLOCKTYPE_PCLK1;
  RCC_ClkInitStruct.SYSCLKSource = RCC_SYSCLKSOURCE_PLLCLK;
  RCC_ClkInitStruct.AHBCLKDivider = RCC_SYSCLK_DIV1;
  RCC_ClkInitStruct.APB1CLKDivider = RCC_HCLK_DIV1;

  if (HAL_RCC_ClockConfig(&RCC_ClkInitStruct, FLASH_LATENCY_1) != HAL_OK)
  {
    Error_Handler();
  }
}

static void MX_I2C1_Init(void)
{

  hi2c1.Instance = I2C1;
  hi2c1.Init.Timing = 0x00301347;
  hi2c1.Init.OwnAddress1 = 0;
  hi2c1.Init.AddressingMode = I2C_ADDRESSINGMODE_7BIT;
  hi2c1.Init.DualAddressMode = I2C_DUALADDRESS_DISABLE;
  hi2c1.Init.OwnAddress2 = 0;
  hi2c1.Init.OwnAddress2Masks = I2C_OA2_NOMASK;
  hi2c1.Init.GeneralCallMode = I2C_GENERALCALL_DISABLE;
  hi2c1.Init.NoStretchMode = I2C_NOSTRETCH_DISABLE;
  if (HAL_I2C_Init(&hi2c1) != HAL_OK)
  {
    Error_Handler();
  }

  /** Configure Analogue filter
  */
  if (HAL_I2CEx_ConfigAnalogFilter(&hi2c1, I2C_ANALOGFILTER_ENABLE) != HAL_OK)
  {
    Error_Handler();
  }

  /** Configure Digital filter
  */
  if (HAL_I2CEx_ConfigDigitalFilter(&hi2c1, 0) != HAL_OK)
  {
    Error_Handler();
  }

}

static void MX_I2C2_Init(void)
{

  hi2c2.Instance = I2C2;
  hi2c2.Init.Timing = 0x00301347;
  hi2c2.Init.OwnAddress1 = 0;
  hi2c2.Init.AddressingMode = I2C_ADDRESSINGMODE_7BIT;
  hi2c2.Init.DualAddressMode = I2C_DUALADDRESS_DISABLE;
  hi2c2.Init.OwnAddress2 = 0;
  hi2c2.Init.OwnAddress2Masks = I2C_OA2_NOMASK;
  hi2c2.Init.GeneralCallMode = I2C_GENERALCALL_DISABLE;
  hi2c2.Init.NoStretchMode = I2C_NOSTRETCH_DISABLE;
  if (HAL_I2C_Init(&hi2c2) != HAL_OK)
  {
    Error_Handler();
  }

  /** Configure Analogue filter
  */
  if (HAL_I2CEx_ConfigAnalogFilter(&hi2c2, I2C_ANALOGFILTER_ENABLE) != HAL_OK)
  {
    Error_Handler();
  }

  /** Configure Digital filter
  */
  if (HAL_I2CEx_ConfigDigitalFilter(&hi2c2, 0) != HAL_OK)
  {
    Error_Handler();
  }

}

static void MX_TIM2_Init(void)
{

  TIM_Encoder_InitTypeDef sConfig = {0};
  TIM_MasterConfigTypeDef sMasterConfig = {0};

  htim2.Instance = TIM2;
  htim2.Init.Prescaler = 0;
  htim2.Init.CounterMode = TIM_COUNTERMODE_UP;
  htim2.Init.Period = 4294967295;
  htim2.Init.ClockDivision = TIM_CLOCKDIVISION_DIV1;
  htim2.Init.AutoReloadPreload = TIM_AUTORELOAD_PRELOAD_DISABLE;
  sConfig.EncoderMode = TIM_ENCODERMODE_TI12;
  sConfig.IC1Polarity = TIM_ICPOLARITY_FALLING;
  sConfig.IC1Selection = TIM_ICSELECTION_DIRECTTI;
  sConfig.IC1Prescaler = TIM_ICPSC_DIV1;
  sConfig.IC1Filter = 0;
  sConfig.IC2Polarity = TIM_ICPOLARITY_FALLING;
  sConfig.IC2Selection = TIM_ICSELECTION_DIRECTTI;
  sConfig.IC2Prescaler = TIM_ICPSC_DIV1;
  sConfig.IC2Filter = 0;
  if (HAL_TIM_Encoder_Init(&htim2, &sConfig) != HAL_OK)
  {
    Error_Handler();
  }
  sMasterConfig.MasterOutputTrigger = TIM_TRGO_RESET;
  sMasterConfig.MasterSlaveMode = TIM_MASTERSLAVEMODE_DISABLE;
  if (HAL_TIMEx_MasterConfigSynchronization(&htim2, &sMasterConfig) != HAL_OK)
  {
    Error_Handler();
  }

}

static void MX_TIM16_Init(void)
{

  htim16.Instance = TIM16;
  htim16.Init.Prescaler = 40000-1;
  htim16.Init.CounterMode = TIM_COUNTERMODE_UP;
  htim16.Init.Period = 1000;
  htim16.Init.ClockDivision = TIM_CLOCKDIVISION_DIV1;
  htim16.Init.RepetitionCounter = 0;
  htim16.Init.AutoReloadPreload = TIM_AUTORELOAD_PRELOAD_DISABLE;
  if (HAL_TIM_Base_Init(&htim16) != HAL_OK)
  {
    Error_Handler();
  }

}

static void MX_GPIO_Init(void)
{
  GPIO_InitTypeDef GPIO_InitStruct = {0};

  /* GPIO Ports Clock Enable */
  __HAL_RCC_GPIOB_CLK_ENABLE();
  __HAL_RCC_GPIOC_CLK_ENABLE();
  __HAL_RCC_GPIOA_CLK_ENABLE();

  /*Configure GPIO pin Output Level */
  HAL_GPIO_WritePin(GPIOC, GPIO_PIN_15, GPIO_PIN_SET);

  /*Configure GPIO pin Output Level */
  HAL_GPIO_WritePin(GPIOA, GPIO_PIN_2, GPIO_PIN_RESET);

  /*Configure GPIO pin : PC15 */
  GPIO_InitStruct.Pin = GPIO_PIN_15;
  GPIO_InitStruct.Mode = GPIO_MODE_OUTPUT_OD;
  GPIO_InitStruct.Pull = GPIO_NOPULL;
  GPIO_InitStruct.Speed = GPIO_SPEED_FREQ_LOW;
  HAL_GPIO_Init(GPIOC, &GPIO_InitStruct);

  /*Configure GPIO pin : PA2 */
  GPIO_InitStruct.Pin = GPIO_PIN_2;
  GPIO_InitStruct.Mode = GPIO_MODE_OUTPUT_PP;
  GPIO_InitStruct.Pull = GPIO_NOPULL;
  GPIO_InitStruct.Speed = GPIO_SPEED_FREQ_LOW;
  HAL_GPIO_Init(GPIOA, &GPIO_InitStruct);

  /*Configure GPIO pins : PA4 PA5 PA6 PA7
                           PA8 */
  GPIO_InitStruct.Pin = GPIO_PIN_4|GPIO_PIN_5|GPIO_PIN_6|GPIO_PIN_7
                          |GPIO_PIN_8;
  GPIO_InitStruct.Mode = GPIO_MODE_IT_FALLING;
  GPIO_InitStruct.Pull = GPIO_PULLUP;
  HAL_GPIO_Init(GPIOA, &GPIO_InitStruct);

  /* EXTI interrupt init*/
  HAL_NVIC_SetPriority(EXTI4_15_IRQn, 0, 0);
  HAL_NVIC_EnableIRQ(EXTI4_15_IRQn);

}

void Error_Handler(void)
{
  __disable_irq();
  while (1)
  {
  }
}
